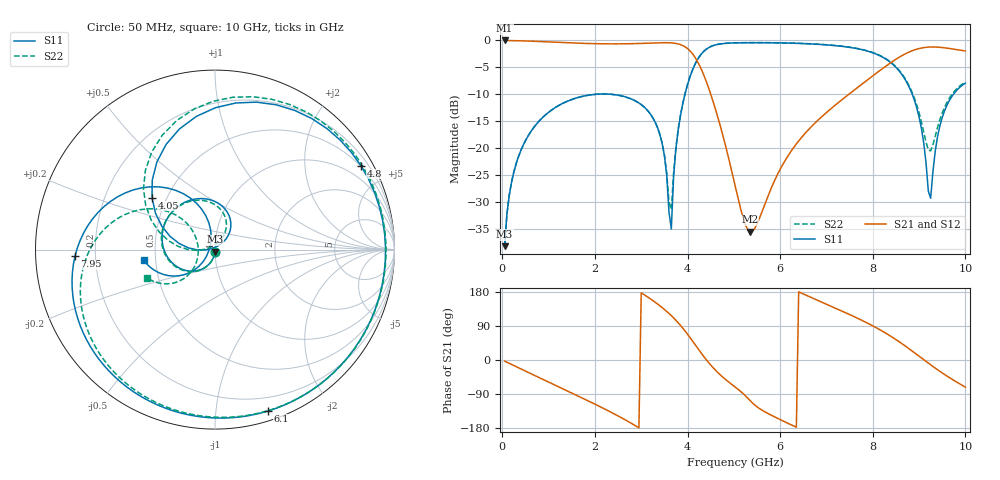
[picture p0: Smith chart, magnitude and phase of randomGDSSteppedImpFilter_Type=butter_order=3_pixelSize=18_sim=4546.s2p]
! freq	dB(S11)	phase(S11)	dB(S12)	phase(S12)
!  dB(S21)	phase(S21)	dB(S22)	phase(S22)
!S-par simulation data
#  GHz  S  DB  R 50
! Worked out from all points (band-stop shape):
!   200 points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, 50 MHz to 10 GHz, reference 50 ohm
!   highest |S21| = -0.01 dB at 50 MHz (marker M1); lowest = -35.5 dB at 5.35 GHz (marker M2)
!   |S21| within 3 dB of the highest: start of sweep to 4.151 GHz; 8.593 GHz to end of sweep
!   lowest |S11| = -38.2 dB at 50 MHz (marker M3), VSWR 1.02, Z = 49.9 - j1.23 ohm
!   |S11| at or under -10 dB: start of sweep to 2.029 GHz; 2.345 GHz to 3.944 GHz (1.6 GHz wide, 50.9 % of centre); 8.852 GHz to 9.742 GHz (890.1 MHz wide, 9.57 % of centre)
!   |S22| runs from -38.2 to -0.4 dB; largest |S21 - S12| = 0
!   S11 on the Smith chart (normalised r, x): 50 MHz: 1.00, -0.02; 4.05 GHz: 0.41, +0.30; 4.8 GHz: 0.48, +3.69; 6.1 GHz: 0.08, -1.38; 7.95 GHz: 0.12, -0.02; 10 GHz: 0.43, -0.06
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0.05  -38.21 -92.5  -0.01 -3.0  -0.01 -3.0  -38.21 -92.4
0.2  -26.31 -102.1  -0.03 -11.8  -0.03 -11.8  -26.31 -101.7
0.5  -18.62 -120.2  -0.10 -29.2  -0.10 -29.2  -18.62 -119.4
1.15  -12.43 -158.5  -0.34 -66.8  -0.34 -66.8  -12.43 -156.5
1.75  -10.35 166.1  -0.55 -101.5  -0.55 -101.5  -10.35 169.4
2.75  -10.75 102.1  -0.61 -164.5  -0.61 -164.5  -10.75 108.5
3.4  -17.42 51.3  -0.44 143.4  -0.44 143.4  -17.37 62.5
3.65  -35.02 159.3  -0.46 117.0  -0.46 117.0  -31.39 149.4
3.75  -20.03 -179.1  -0.56 104.7  -0.56 104.7  -19.78 -177.8
4.05  -6.83 140.4  -1.91 59.8  -1.91 59.8  -6.80 147.6
4.4  -1.67 81.9  -7.51 1.4  -7.51 1.4  -1.65 90.7
4.8  -0.56 29.9  -18.86 -49.3  -18.86 -49.3  -0.55 39.5
5.05  -0.45 5.1  -27.80 -73.5  -27.80 -73.5  -0.44 15.0
5.35  -0.42 -20.2  -35.54 -107.0  -35.54 -107.0  -0.41 -10.1
6.1  -0.48 -71.9  -22.40 -163.1  -22.40 -163.1  -0.46 -61.4
6.7  -0.67 -106.6  -15.79 163.4  -15.79 163.4  -0.64 -95.6
7.95  -2.15 -177.3  -6.91 93.3  -6.91 93.3  -2.10 -162.8
8.35  -3.87 155.2  -4.36 65.7  -4.36 65.7  -3.79 172.2
8.95  -12.53 108.2  -1.62 14.6  -1.62 14.6  -12.00 137.2
9.25  -29.31 -172.9  -1.22 -12.8  -1.22 -12.8  -20.51 -171.0
9.5  -14.31 -137.9  -1.32 -34.1  -1.32 -34.1  -13.46 -136.4
10  -7.93 -171.4  -1.96 -71.7  -1.96 -71.7  -7.73 -157.6
